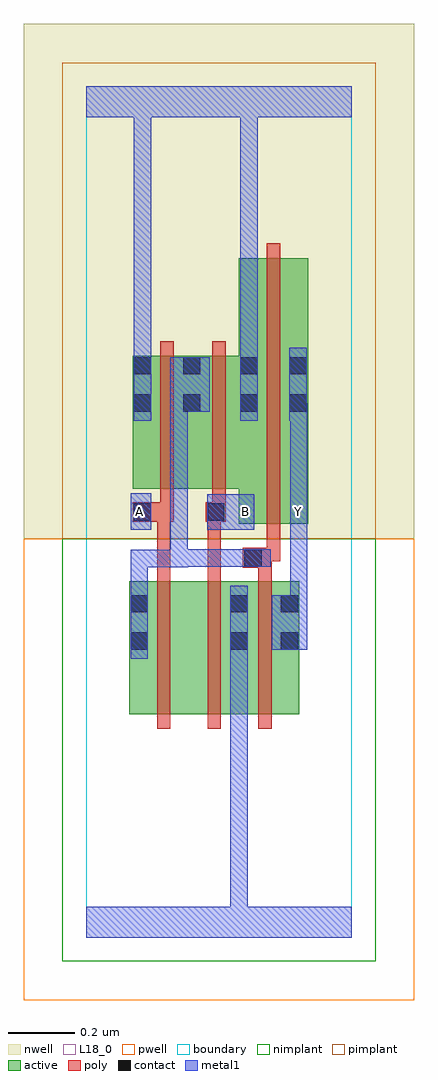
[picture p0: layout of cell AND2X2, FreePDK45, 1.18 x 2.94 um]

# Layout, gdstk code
import gdstk
lib = gdstk.Library(unit=1e-6, precision=1e-09)
def R(c, l, rs):  # rectangles x0, y0, x1, y1
    for r in rs: c.add(gdstk.rectangle(r[:2], r[2:], *l))
def A(c, l, x, y, w, h, nx, ny, dx, dy):  # array of equal rectangles
    R(c, l, [(x+i*dx, y+j*dy, x+i*dx+w, y+j*dy+h) for i in range(nx) for j in range(ny)])
active = (1, 0)
pwell = (2, 0)
nwell = (3, 0)
nimplant = (4, 0)
pimplant = (5, 0)
poly = (9, 0)
contact = (10, 0)
metal1 = (11, 0)
L18_0 = (18, 0)
boundary = (235, 0)

and2x2 = lib.new_cell('AND2X2')
R(and2x2, active, [(0.13,0.672,0.31,1.072), (0.31,0.672,0.49,1.072), (0.43,0.672,0.642,1.072), (0.13,0.756,0.19,1.072), (0.43,0.756,0.49,1.072), (0.582,0.756,0.642,1.072), (0.46,1.244,0.668,2.044), (0.608,1.244,0.668,2.044), (0.14,1.35,0.2,1.75), (0.14,1.35,0.348,1.75), (0.288,1.35,0.348,1.75), (0.288,1.35,0.52,1.75), (0.46,1.35,0.52,1.75)])
R(and2x2, pwell, [(-0.188,-0.188,0.988,1.2)])
R(and2x2, nwell, [(-0.188,1.2,0.988,2.748)])
R(and2x2, nimplant, [(-0.072,-0.072,0.872,1.2)])
R(and2x2, pimplant, [(-0.072,1.2,0.872,2.632)])
A(and2x2, poly, 0.214, 0.628, 0.04, 0.488, 3, 1, 0.152, 0)
R(and2x2, poly, [(0.214,1.076,0.254,1.29), (0.366,1.076,0.406,1.29), (0.518,1.076,0.558,1.152), (0.472,1.112,0.558,1.172), (0.518,1.132,0.558,1.172), (0.518,1.132,0.584,1.172), (0.544,1.132,0.584,1.24), (0.544,1.2,0.584,2.088), (0.14,1.25,0.264,1.31), (0.214,1.25,0.254,1.29), (0.214,1.25,0.254,1.29), (0.36,1.25,0.42,1.31), (0.366,1.25,0.406,1.29), (0.366,1.25,0.406,1.29), (0.224,1.27,0.264,1.346), (0.38,1.27,0.42,1.346), (0.224,1.306,0.264,1.794), (0.38,1.306,0.42,1.794)])
R(and2x2, contact, [(0.134,0.866,0.186,0.918), (0.434,0.866,0.486,0.918), (0.586,0.866,0.638,0.918), (0.134,0.978,0.186,1.03), (0.434,0.978,0.486,1.03), (0.586,0.978,0.638,1.03), (0.476,1.116,0.528,1.168), (0.144,1.254,0.196,1.306), (0.364,1.254,0.416,1.306), (0.144,1.582,0.196,1.634), (0.292,1.582,0.344,1.634), (0.464,1.582,0.516,1.634), (0.612,1.582,0.664,1.634), (0.144,1.694,0.196,1.746), (0.292,1.694,0.344,1.746), (0.464,1.694,0.516,1.746), (0.612,1.694,0.664,1.746)])
R(and2x2, metal1, [(0,0,0.8,0.092), (0.434,0.04,0.486,0.092), (0.434,0.04,0.486,0.092), (0.434,0.04,0.486,0.092), (0.434,0.04,0.486,0.092), (0.434,0.04,0.486,0.092), (0.434,0.04,0.486,0.092), (0.434,0.04,0.486,0.092), (0.434,0.04,0.486,0.092), (0.434,0.04,0.486,0.092), (0.434,0.04,0.486,0.092), (0.434,0.04,0.486,0.092), (0.434,0.04,0.486,0.092), (0.434,0.04,0.486,0.89), (0.134,0.838,0.186,1.058), (0.434,0.838,0.486,1.058), (0.558,0.866,0.666,1.03), (0.614,0.978,0.666,1.278), (0.134,1.006,0.186,1.166), (0.134,1.114,0.186,1.166), (0.134,1.114,0.186,1.166), (0.134,1.114,0.186,1.166), (0.134,1.114,0.306,1.166), (0.254,1.114,0.306,1.168), (0.254,1.116,0.306,1.168), (0.254,1.116,0.306,1.168), (0.254,1.116,0.416,1.168), (0.254,1.116,0.306,1.634), (0.364,1.116,0.416,1.168), (0.364,1.116,0.5,1.168), (0.448,1.116,0.556,1.168), (0.134,1.226,0.196,1.336), (0.364,1.226,0.506,1.334), (0.614,1.226,0.666,1.334), (0.614,1.282,0.666,1.606), (0.144,1.554,0.196,1.774), (0.464,1.554,0.516,1.774), (0.612,1.554,0.664,1.606), (0.612,1.554,0.664,1.774), (0.612,1.554,0.666,1.606), (0.254,1.582,0.306,1.634), (0.254,1.582,0.306,1.634), (0.254,1.582,0.372,1.746), (0.144,1.722,0.196,1.774), (0.144,1.722,0.196,1.774), (0.144,1.722,0.196,1.774), (0.144,1.722,0.196,1.774), (0.144,1.722,0.196,1.774), (0.144,1.722,0.196,1.774), (0.144,1.722,0.196,2.52), (0.464,1.722,0.516,1.774), (0.464,1.722,0.516,1.774), (0.464,1.722,0.516,1.774), (0.464,1.722,0.516,1.774), (0.464,1.722,0.516,2.52), (0,2.468,0.8,2.56), (0.144,2.468,0.196,2.52), (0.144,2.468,0.196,2.52), (0.144,2.468,0.196,2.52), (0.144,2.468,0.196,2.52), (0.144,2.468,0.196,2.52), (0.144,2.468,0.196,2.52), (0.144,2.468,0.196,2.52), (0.144,2.468,0.196,2.52), (0.144,2.468,0.196,2.52), (0.144,2.468,0.196,2.52), (0.464,2.468,0.516,2.52), (0.464,2.468,0.516,2.52), (0.464,2.468,0.516,2.52), (0.464,2.468,0.516,2.52)])
R(and2x2, L18_0, [(0,0,0.8,0.092), (0.434,0.04,0.486,0.092), (0.434,0.04,0.486,0.092), (0.434,0.04,0.486,0.092), (0.434,0.04,0.486,0.092), (0.434,0.04,0.486,0.092), (0.434,0.04,0.486,0.092), (0.434,0.04,0.486,0.092), (0.434,0.04,0.486,0.092), (0.434,0.04,0.486,0.092), (0.434,0.04,0.486,0.092), (0.434,0.04,0.486,0.092), (0.434,0.04,0.486,0.092), (0.434,0.04,0.486,0.89), (0.434,0.838,0.486,1.058), (0.558,0.866,0.666,1.03), (0.614,0.978,0.666,1.278), (0.134,1.226,0.196,1.336), (0.364,1.226,0.506,1.334), (0.614,1.226,0.666,1.334), (0.134,1.254,0.186,1.306), (0.454,1.254,0.506,1.306), (0.614,1.254,0.666,1.306), (0.614,1.282,0.666,1.606), (0.144,1.554,0.196,1.774), (0.464,1.554,0.516,1.774), (0.612,1.554,0.664,1.774), (0.612,1.554,0.664,1.606), (0.612,1.554,0.666,1.606), (0.144,1.722,0.196,1.774), (0.144,1.722,0.196,1.774), (0.144,1.722,0.196,1.774), (0.144,1.722,0.196,1.774), (0.144,1.722,0.196,1.774), (0.144,1.722,0.196,1.774), (0.144,1.722,0.196,2.52), (0.464,1.722,0.516,1.774), (0.464,1.722,0.516,1.774), (0.464,1.722,0.516,1.774), (0.464,1.722,0.516,1.774), (0.464,1.722,0.516,2.52), (0,2.468,0.8,2.56), (0.144,2.468,0.196,2.52), (0.144,2.468,0.196,2.52), (0.144,2.468,0.196,2.52), (0.144,2.468,0.196,2.52), (0.144,2.468,0.196,2.52), (0.144,2.468,0.196,2.52), (0.144,2.468,0.196,2.52), (0.144,2.468,0.196,2.52), (0.144,2.468,0.196,2.52), (0.144,2.468,0.196,2.52), (0.464,2.468,0.516,2.52), (0.464,2.468,0.516,2.52), (0.464,2.468,0.516,2.52), (0.464,2.468,0.516,2.52)])
R(and2x2, boundary, [(0,0,0.8,2.56)])
and2x2.add(gdstk.Label('A', (0.16,1.28), layer=11, texttype=0))
and2x2.add(gdstk.Label('B', (0.48,1.28), layer=11, texttype=0))
and2x2.add(gdstk.Label('Y', (0.64,1.28), layer=11, texttype=0))

lib.write_gds('AND2X2.gds')
